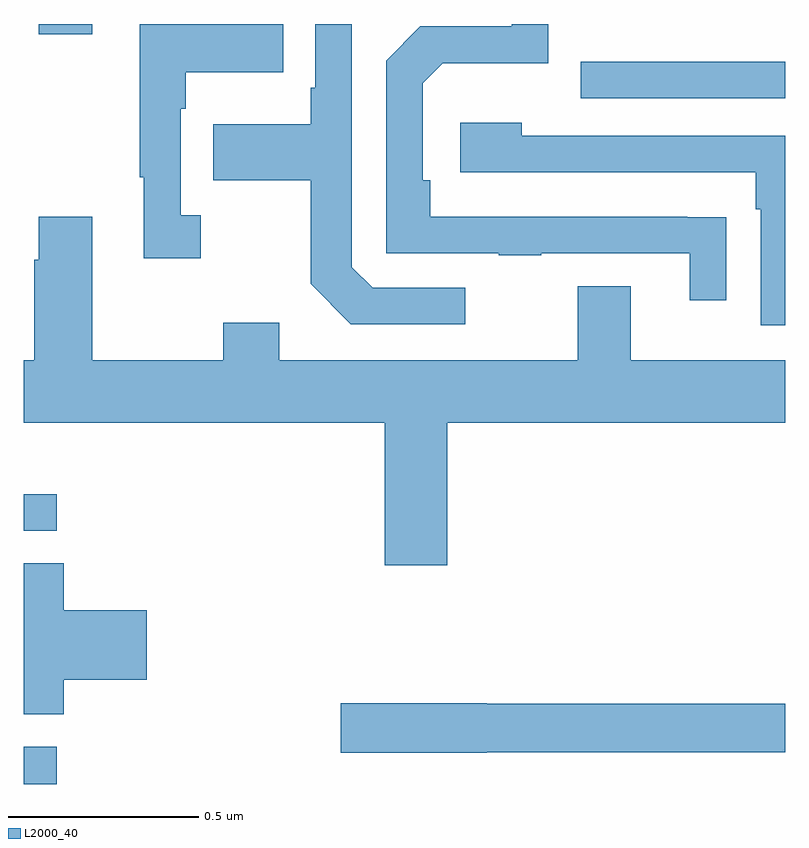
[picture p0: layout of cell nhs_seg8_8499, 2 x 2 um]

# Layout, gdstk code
import gdstk
lib = gdstk.Library(unit=1e-6, precision=1e-09)
def R(c, l, rs):  # rectangles x0, y0, x1, y1
    for r in rs: c.add(gdstk.rectangle(r[:2], r[2:], *l))
def P(c, l, *ps):  # polygons
    for p in ps: c.add(gdstk.Polygon(p, *l))
L2000_40 = (2000, 40)

nhs_seg8_8499 = lib.new_cell('nhs_seg8_8499')
R(nhs_seg8_8499, L2000_40, [(224,1096.903,224.086,1097.001), (224,1097.568,224.086,1097.664), (225.463,1098.705,226,1098.801), (224.039,1098.873,224.179,1098.9)])
P(nhs_seg8_8499, L2000_40, [(225.16,1098.207),(224.916,1098.207),(224.862,1098.261),(224.862,1098.9),(224.766,1098.9),(224.766,1098.733),(224.754,1098.733),(224.754,1098.637),(224.497,1098.637),(224.497,1098.49),(224.754,1098.49),(224.754,1098.217),(224.859,1098.111),(225.16,1098.111)],
  [(224.464,1098.398),(224.412,1098.398),(224.412,1098.677),(224.425,1098.677),(224.425,1098.773),(224.681,1098.773),(224.681,1098.9),(224.304,1098.9),(224.304,1098.497),(224.315,1098.497),(224.315,1098.285),(224.464,1098.285)],
  [(225.845,1098.392),(225.743,1098.392),(225.743,1098.393),(225.068,1098.393),(225.068,1098.49),(225.048,1098.49),(225.048,1098.744),(225.101,1098.797),(225.378,1098.797),(225.378,1098.9),(225.282,1098.9),(225.282,1098.894),(225.042,1098.894),(224.952,1098.804),(224.952,1098.297),(225.247,1098.297),(225.247,1098.292),(225.359,1098.292),(225.359,1098.297),(225.749,1098.297),(225.749,1098.174),(225.845,1098.174)],
  [(226,1098.606),(225.308,1098.606),(225.308,1098.64),(225.147,1098.64),(225.147,1098.51),(225.923,1098.51),(225.923,1098.413),(225.936,1098.413),(225.936,1098.108),(226,1098.108)],
  [(225.112,1097.852),(226,1097.852),(226,1098.016),(225.595,1098.016),(225.595,1098.211),(225.455,1098.211),(225.455,1098.016),(224.671,1098.016),(224.671,1098.115),(224.524,1098.115),(224.524,1098.016),(224.179,1098.016),(224.179,1098.394),(224.039,1098.394),(224.039,1098.281),(224.027,1098.281),(224.027,1098.016),(224,1098.016),(224,1097.852),(224.948,1097.852),(224.948,1097.478),(225.112,1097.478)],
  [(224.105,1097.177),(224.323,1097.177),(224.323,1097.36),(224.105,1097.36),(224.105,1097.483),(224,1097.483),(224,1097.086),(224.105,1097.086)],
  [(225.216,1096.986),(226,1096.986),(226,1097.114),(225.216,1097.114),(225.216,1097.115),(224.832,1097.115),(224.832,1096.985),(225.216,1096.985)])

lib.write_gds('nhs_seg8_8499.gds')
